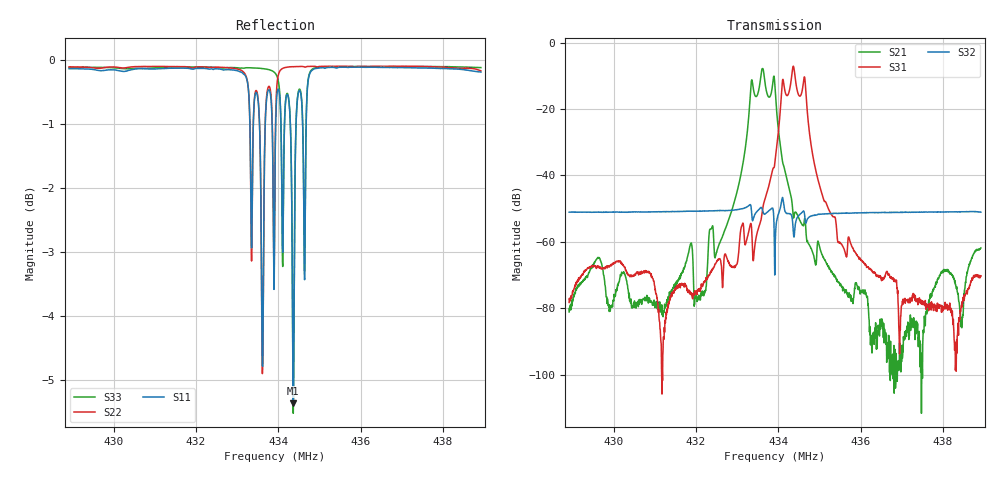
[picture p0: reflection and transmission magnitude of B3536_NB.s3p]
! Matrix data file written by TouchstoneData, EPCOS AG
! FILENAME: "LZ80C_6_NB.s3p"
! COMMENT: "(LZ80C_6_NB.s3p) EPCOS AG 22.05.2012 10:36:0"
! INFO: nport=3, nfreq=1601
! DATE: "Wed May 23 15:29:55 2012"
! USER: "Wilfried Schott"
! port | pin | signal
!  1  |  1  |  IN
!  2  |  5  |  OUT_CH1
!  3  |  7  |  OUT_CH2
# MHZ S MA R 50
! freq  magS11 angS11  magS12 angS12  magS13 angS13  ...
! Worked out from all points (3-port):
!   1601 points, 428.92 MHz to 438.92 MHz, reference 50 ohm
!   strongest paths, dB at 428.92 MHz, 431.42 MHz, 433.92 MHz, 436.42 MHz, 438.92 MHz:
!     S32: -51.1, -50.9, -64.0, -51.2, -51.1
!     S31: -78.3, -75.7, -35.8, -70.1, -70.2
!     S21: -81.1, -74.4, -13.4, -86.8, -61.8
!   lowest |S11| = -5.4 dB at 434.36 MHz (marker M1), VSWR 3.34, Z = 103 - j75 ohm
!   |S11| at or under -10 dB: nowhere
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428.92  0.9837 -31.9  8.814e-05 79.0  0.0001172 -60.5
        8.783e-05 70.2  0.987 -18.7  0.002783 69.6
        0.0001222 -59.6  0.002793 69.9  0.9858 -19.6
431.2075  0.984 -32.5  9.616e-05 63.3  3.25e-05 -82.6
          8.619e-05 66.2  0.9876 -19.1  0.002838 70.1
          3.676e-05 -111.8  0.002848 69.9  0.9863 -19.8
431.8638  0.9836 -33.1  0.000924 3.2  0.0001517 -154.7
          0.0009129 2.7  0.9858 -19.6  0.002881 69.3
          0.000173 -157.1  0.002894 69.3  0.9866 -20.0
432.07  0.9843 -33.3  0.000144 38.5  0.0001874 -134.1
        0.0001572 35.8  0.9868 -19.6  0.002889 69.1
        0.0001953 -132.1  0.002904 69.2  0.9865 -20.1
433.3575  0.7265 -33.7  0.275 -53.3  0.001371 160.7
          0.2747 -53.2  0.7125 -18.2  0.002505 37.3
          0.001368 160.0  0.002499 37.1  0.9851 -21.3
433.92  0.8122 -21.1  0.2135 -58.8  0.01621 -130.6
        0.2138 -58.7  0.8249 -2.9  0.0006054 150.6
        0.01619 -130.5  0.0006316 150.4  0.9762 -25.0
434.3638  0.5389 -28.8  0.002381 -114.5  0.4404 -24.1
          0.002398 -114.8  0.9872 -15.6  0.001496 38.8
          0.4404 -24.1  0.001451 39.0  0.5294 -18.9
435.62  0.9863 -28.9  0.0001827 -108.6  0.0006911 74.5
        0.0001842 -105.8  0.9879 -17.6  0.002687 72.0
        0.0007043 73.6  0.002692 71.9  0.9874 -17.8
438.445  0.9823 -30.7  5.241e-05 71.9  0.0001088 176.3
         6.46e-05 83.6  0.9841 -18.3  0.002819 65.6
         0.0001102 -177.3  0.002832 75.9  0.9867 -18.5
438.92  0.9777 -30.9  0.0007943 -142.5  0.0002991 72.0
        0.0008095 -143.3  0.9798 -18.5  0.002794 63.2
        0.0003077 84.2  0.002792 75.9  0.9856 -18.5
